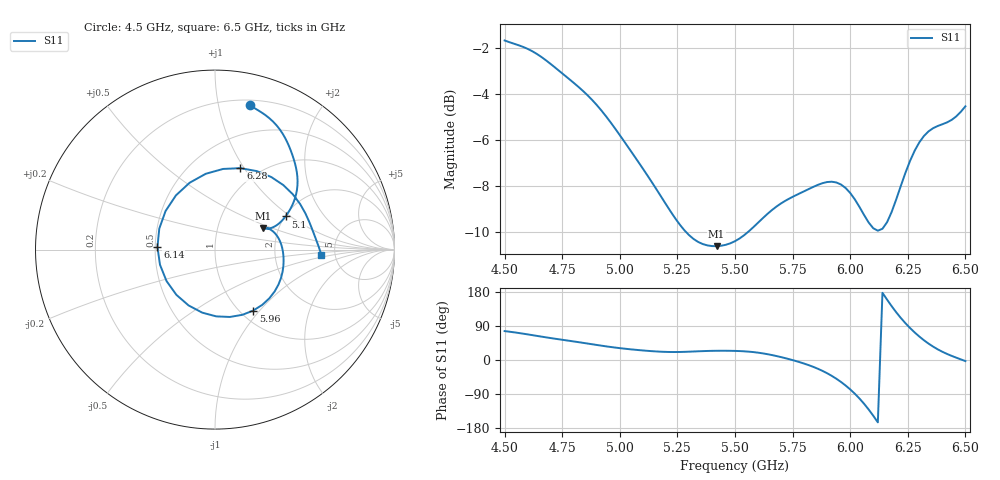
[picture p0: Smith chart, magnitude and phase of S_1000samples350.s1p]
! TOUCHSTONE file generated by CST MICROWAVE STUDIO
! Date and time: Thu Oct 27 21:01:51 2022
! Project name: L.cst
! Parameters = {Di=1.27; Epsilon_r=1.56; InnerDiameter=1.27; Length=2; Lf=10; Lg=60; OuterConductorThickness=0.2921; OuterDiameter=3.6; Wf=3; Wp=41.2; de=1.5; df=6.8; g=0.8; gx=0.41666; gy=2.81669; h=2.34; hf=1.524; px=9.13946; py=10.8436; w=9.7; wx=8.7228; wy=8.02692}
! Header version: 2018
! Port assignment regex: !\s*Touchstone port\s*([0-9]+)\s*=\s*(CST MWS port|CST DS port)\s*([0-9]+|Zmin|Zmax)\s*\(\"(.*)\"\)(\s*mode\s*([0-9]+))?.*
! Touchstone port assignment:
! Touchstone port 1 = CST MWS port 1 ("")
# GHz S DB R 50
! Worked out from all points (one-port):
!   101 points, 4.5 GHz to 6.5 GHz, reference 50 ohm
!   lowest |S11| = -10.6 dB at 5.42 GHz (marker M1), VSWR 1.83, Z = 83 + j22 ohm
!   |S11| at or under -10 dB: 5.287 GHz to 5.558 GHz (271.1 MHz wide, 5 % of centre)
!   S11 on the Smith chart (normalised r, x): 4.5 GHz: 0.24, +1.24; 5.1 GHz: 2.02, +0.92; 5.96 GHz: 1.14, -0.92; 6.14 GHz: 0.51, +0.02; 6.28 GHz: 0.82, +0.96; 6.5 GHz: 3.89, -0.36
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4.5  -1.65 76.3
4.62  -2.12 65.6
4.76  -3.17 52.5
4.88  -4.25 41.6
5  -5.78 31.3
5.1  -7.24 25.2
5.26  -9.68 21.2
5.42  -10.63 24.3
5.5  -10.41 24.0
5.64  -9.23 15.5
5.76  -8.43 -2.0
5.88  -7.88 -28.8
5.92  -7.82 -41.9
5.96  -7.94 -57.9
6  -8.31 -77.5
6.04  -8.91 -101.5
6.06  -9.26 -115.3
6.1  -9.85 -147.0
6.14  -9.87 177.3
6.16  -9.58 159.3
6.2  -8.58 125.8
6.24  -7.42 96.9
6.26  -6.90 84.3
6.28  -6.46 72.6
6.32  -5.82 52.2
6.36  -5.48 35.3
6.4  -5.31 21.7
6.5  -4.53 -2.9
